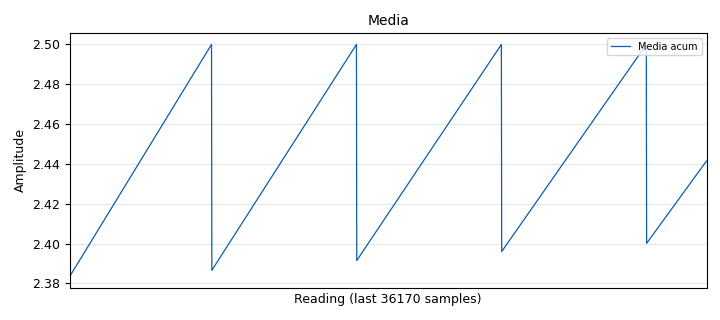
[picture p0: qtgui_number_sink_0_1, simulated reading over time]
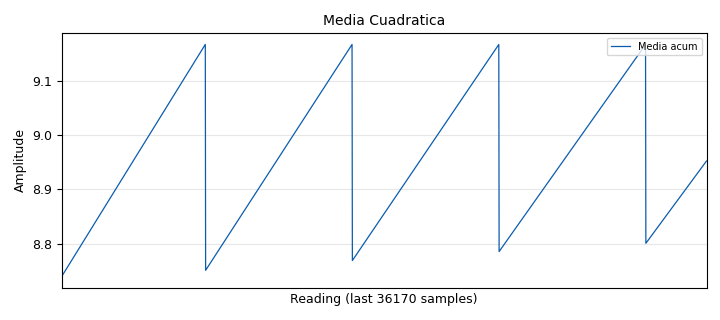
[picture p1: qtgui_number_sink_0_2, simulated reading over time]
options:
  parameters:
    generate_options: qt_gui
    id: Practica1
    output_language: python
    title: Not titled yet
  states: {}

blocks:
- name: samp_rate
  id: variable
  parameters:
    value: '32000'
  states: {}
- name: analog_sig_source_x_0
  id: analog_sig_source_x
  parameters:
    amp: '2'
    freq: '10000'
    offset: '0'
    phase: '0'
    samp_rate: samp_rate
    type: float
    waveform: analog.GR_SQR_WAVE
  states: {state: disabled}
- name: blocks_vector_source_x_0
  id: blocks_vector_source_x
  parameters:
    repeat: 'True'
    type: float
    vector: (0,1,2,3,4,5)
  states: {}
- name: epy_block_0
  id: epy_block
  parameters:
    _source_code: |
      import numpy as np
      from gnuradio import gr

      class blk(gr.sync_block):
      	def __init__(self): # only default arguments here
      		gr.sync_block.__init__(
      			self,
      			name ="e_Acum", # will show up in GRC
      			in_sig =[ np.float32 ],
      			out_sig =[ np.float32 ]
      		)
      			
      	def work(self , input_items , output_items ):
      		x = input_items[0] # Senial de entrada .
      		y0 = output_items[0] # Senial acumulada
      		y0[:] = np.cumsum(x)
      		#y0[:]= len(x)
      		return len(y0)
  states: {state: disabled}
- name: epy_block_1
  id: epy_block
  parameters:
    _source_code: |
      import numpy as np
      from gnuradio import gr

      class blk(gr.sync_block):

      	def __init__(self): # only default arguments here
      		gr.sync_block.__init__(
      			self,
      			name="e_Diff", # will show up in GRC
      			in_sig=[np.float32],
      			out_sig=[np.float32]
      		)
      		self.acum_anterior=0
      		
      	def work(self , input_items , output_items ):
      		x=input_items[0] # Senial de entrada .
      		y0=output_items[0] # Senial acumulada diferencial
      		
      		N=len(x)
      		diff=np.cumsum(x)-self.acum_anterior
      		self.acum_anterior = diff[N -1]
      		y0[:]=diff
      		return len(y0)
  states: {state: disabled}
- name: epy_block_2
  id: epy_block
  parameters:
    _source_code: |
      import numpy as np
      from gnuradio import gr

      class blk (gr.sync_block ):

      	def __init__ ( self ): # only default arguments here
      		gr.sync_block.__init__(
      			self,
      			name =" Promedios_de_tiempos ", # will show up in GRC
      			in_sig =[ np.float32 ],
      			out_sig =[ np.float32 ,np.float32 ,np.float32 ,np.float32 ,np.float32 ]
      		)
      		self.acum_anterior = 0
      		self.Ntotales = 0
      		self.acum_anterior1 = 0
      		self.acum_anterior2 = 0

      	def work (self , input_items , output_items ):
      		x = input_items[0] # Senial de entrada .
      		y0 = output_items[0] # Promedio de la senial
      		y1 = output_items[1] # Media de la senial
      		y2 = output_items[2] # RMS de la senial
      		y3 = output_items[3] # Potencia promedio de la senial
      		y4 = output_items[4] # Desviacion estandar de la senial

      		# Calculo del promedio
      		N = len(x)
      		self.Ntotales = self.Ntotales + N
      		acumulado = self.acum_anterior + np.cumsum(x)
      		self.acum_anterior = acumulado[N -1]	
      		y0[:]= acumulado/self.Ntotales

      		# Calculo de la media cuadratica
      		x2=np.multiply(x,x)
      		acumulado1 = self.acum_anterior1 + np.cumsum(x2)
      		self.acum_anterior1 = acumulado1[N -1]
      		y1[:] = acumulado1/self.Ntotales

      		# Calculo de la RMS
      		y2[:] = np.sqrt(y1)
      	
      		# Calculo de la potencia promedio
      		y3[:] = np.multiply(y2 ,y2)
      	
      		# Calculo de la desviacion estandar
      		x3 = np.multiply(x-y0 ,x-y0)
      		acumulado2 = self.acum_anterior2 + np.cumsum(x3)
      		self.acum_anterior2 = acumulado2[N -1]
      		y4[:] = np.sqrt( acumulado2 / self.Ntotales )
      	
      		return len (y0)
  states: {}
- name: qtgui_number_sink_0
  id: qtgui_number_sink
  parameters:
    autoscale: 'True'
    graph_type: qtgui.NUM_GRAPH_HORIZ
    label1: '"Media acum"'
    max: '8'
    min: '0'
    name: '"Media"'
    type: float
  states: {state: disabled}
- name: qtgui_number_sink_0_0
  id: qtgui_number_sink
  parameters:
    autoscale: 'True'
    graph_type: qtgui.NUM_GRAPH_HORIZ
    label1: '"Media diff"'
    max: '8'
    min: '0'
    name: '"Media"'
    type: float
  states: {state: disabled}
- name: qtgui_number_sink_0_1
  id: qtgui_number_sink
  parameters:
    autoscale: 'True'
    graph_type: qtgui.NUM_GRAPH_HORIZ
    label1: '"Media acum"'
    max: '8'
    min: '0'
    name: '"Media"'
    type: float
  states: {}
- name: qtgui_number_sink_0_2
  id: qtgui_number_sink
  parameters:
    autoscale: 'True'
    graph_type: qtgui.NUM_GRAPH_HORIZ
    label1: '"Media acum"'
    max: '8'
    min: '0'
    name: '"Media Cuadratica"'
    type: float
  states: {}
- name: qtgui_number_sink_2
  id: qtgui_number_sink
  parameters:
    graph_type: qtgui.NUM_GRAPH_HORIZ
    label1: '"RMS"'
    name: '"RMS"'
    type: float
  states: {}
- name: qtgui_number_sink_3
  id: qtgui_number_sink
  parameters:
    graph_type: qtgui.NUM_GRAPH_HORIZ
    label1: '"Potencia Promedio"'
    name: '"Potencia Promedio"'
    type: float
  states: {}
- name: qtgui_number_sink_4
  id: qtgui_number_sink
  parameters:
    graph_type: qtgui.NUM_GRAPH_HORIZ
    label1: '"Desviaciòn estandar"'
    name: '"Desviaciòn estandar"'
    type: float
  states: {}

connections:
- [analog_sig_source_x_0, '0', epy_block_0, '0']
- [analog_sig_source_x_0, '0', epy_block_1, '0']
- [blocks_vector_source_x_0, '0', epy_block_0, '0']
- [blocks_vector_source_x_0, '0', epy_block_1, '0']
- [blocks_vector_source_x_0, '0', epy_block_2, '0']
- [epy_block_0, '0', qtgui_number_sink_0, '0']
- [epy_block_1, '0', qtgui_number_sink_0_0, '0']
- [epy_block_2, '0', qtgui_number_sink_0_1, '0']
- [epy_block_2, '1', qtgui_number_sink_0_2, '0']
- [epy_block_2, '2', qtgui_number_sink_2, '0']
- [epy_block_2, '3', qtgui_number_sink_3, '0']
- [epy_block_2, '4', qtgui_number_sink_4, '0']

metadata:
  file_format: 1
  grc_version: 3.9.8.0
